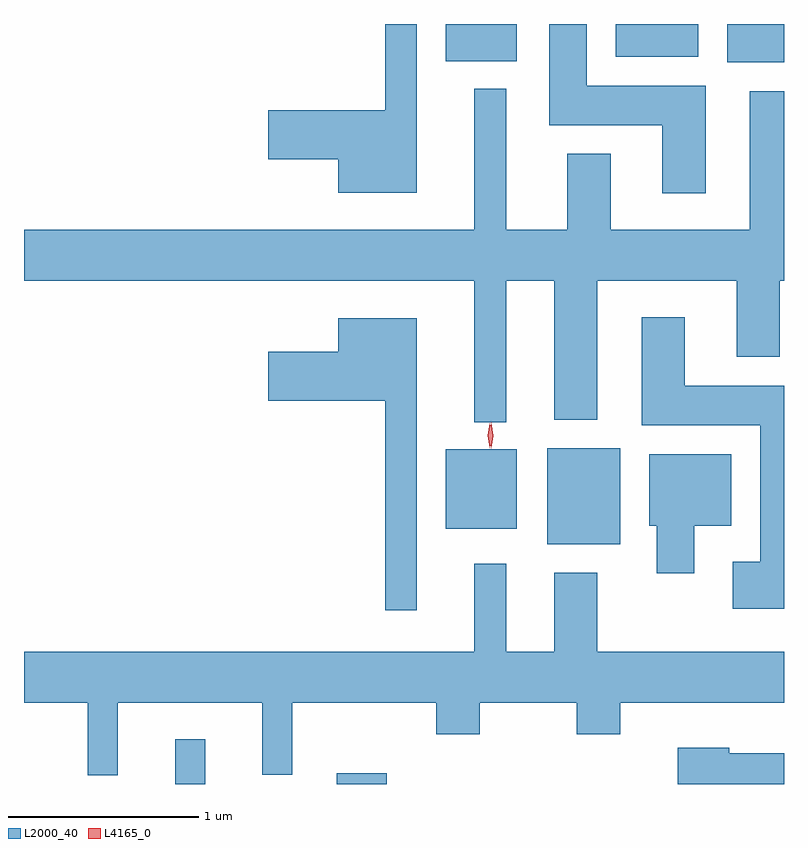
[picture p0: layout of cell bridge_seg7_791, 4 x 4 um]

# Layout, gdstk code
import gdstk
lib = gdstk.Library(unit=1e-6, precision=1e-09)
def R(c, l, rs):  # rectangles x0, y0, x1, y1
    for r in rs: c.add(gdstk.rectangle(r[:2], r[2:], *l))
def P(c, l, *ps):  # polygons
    for p in ps: c.add(gdstk.Polygon(p, *l))
L2000_40 = (2000, 40)
L4165_0 = (4165, 0)

bridge_seg7_791 = lib.new_cell('bridge_seg7_791')
R(bridge_seg7_791, L2000_40, [(376.866,1751.628,377.024,1751.863), (377.716,1751.628,377.979,1751.684), (378.826,1752.891,379.209,1753.394), (378.291,1752.971,378.664,1753.389), (379.771,1755.426,380.071,1755.628), (378.291,1755.431,378.664,1755.628), (379.186,1755.456,379.619,1755.628)])
P(bridge_seg7_791, L2000_40, [(378.139,1755.628),(377.971,1755.628),(377.971,1755.174),(377.356,1755.174),(377.356,1754.916),(377.726,1754.916),(377.726,1754.741),(378.139,1754.741)],
  [(379.659,1755.304),(379.034,1755.304),(379.034,1755.628),(378.836,1755.628),(378.836,1755.096),(379.431,1755.096),(379.431,1754.736),(379.659,1754.736)],
  [(378.609,1754.276),(378.861,1754.276),(378.861,1753.546),(379.089,1753.546),(379.089,1754.276),(379.821,1754.276),(379.821,1753.876),(380.049,1753.876),(380.049,1754.276),(380.071,1754.276),(380.071,1755.274),(379.891,1755.274),(379.891,1754.544),(379.159,1754.544),(379.159,1754.944),(378.931,1754.944),(378.931,1754.544),(378.609,1754.544),(378.609,1755.288),(378.441,1755.288),(378.441,1754.544),(376.071,1754.544),(376.071,1754.276),(378.441,1754.276),(378.441,1753.533),(378.609,1753.533)],
  [(380.071,1753.724),(379.549,1753.724),(379.549,1754.084),(379.321,1754.084),(379.321,1753.516),(379.946,1753.516),(379.946,1752.799),(379.801,1752.799),(379.801,1752.551),(380.071,1752.551)],
  [(378.139,1754.079),(377.726,1754.079),(377.726,1753.904),(377.356,1753.904),(377.356,1753.646),(377.971,1753.646),(377.971,1752.543),(378.139,1752.543)],
  [(379.599,1752.986),(379.794,1752.986),(379.794,1753.364),(379.361,1753.364),(379.361,1752.986),(379.401,1752.986),(379.401,1752.736),(379.599,1752.736)],
  [(376.564,1752.056),(377.326,1752.056),(377.326,1751.678),(377.484,1751.678),(377.484,1752.056),(378.241,1752.056),(378.241,1751.891),(378.469,1751.891),(378.469,1752.056),(378.981,1752.056),(378.981,1751.891),(379.209,1751.891),(379.209,1752.056),(380.071,1752.056),(380.071,1752.324),(379.089,1752.324),(379.089,1752.739),(378.861,1752.739),(378.861,1752.324),(378.609,1752.324),(378.609,1752.788),(378.441,1752.788),(378.441,1752.324),(376.071,1752.324),(376.071,1752.056),(376.406,1752.056),(376.406,1751.673),(376.564,1751.673)],
  [(380.071,1751.789),(379.784,1751.789),(379.784,1751.819),(379.511,1751.819),(379.511,1751.628),(380.071,1751.628)])
P(bridge_seg7_791, L4165_0, [(378.53,1753.394),(378.521,1753.462),(378.53,1753.53),(378.531,1753.531),(378.531,1753.53),(378.541,1753.462),(378.531,1753.394),(378.531,1753.394)],
  [(378.522,1753.398),(378.513,1753.463),(378.522,1753.527),(378.523,1753.527),(378.523,1753.527),(378.533,1753.463),(378.523,1753.398),(378.523,1753.398)])

lib.write_gds('bridge_seg7_791.gds')
